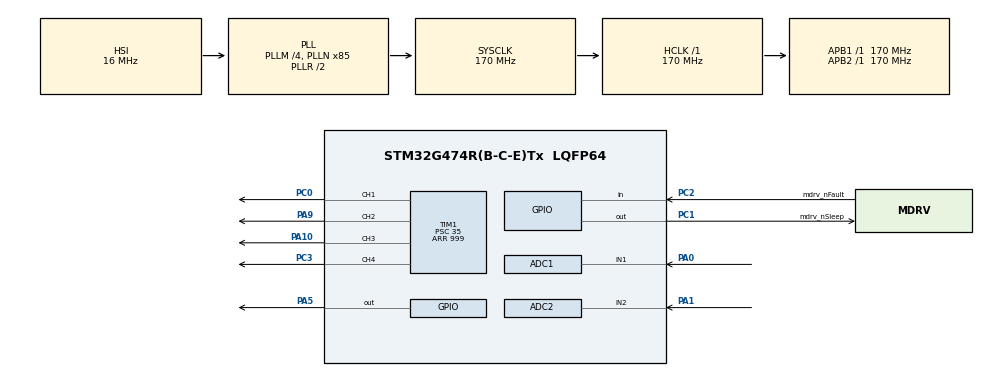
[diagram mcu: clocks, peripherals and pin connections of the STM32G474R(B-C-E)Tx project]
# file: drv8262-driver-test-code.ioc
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ADC1.Channel-1\#ChannelRegularConversion=ADC_CHANNEL_1
ADC1.NbrOfConversionFlag=1
ADC1.OffsetNumber-1\#ChannelRegularConversion=ADC_OFFSET_NONE
ADC1.Rank-1\#ChannelRegularConversion=1
ADC1.SamplingTime-1\#ChannelRegularConversion=ADC_SAMPLETIME_2CYCLES_5
ADC1.master=1
ADC2.Channel-0\#ChannelRegularConversion=ADC_CHANNEL_2
ADC2.NbrOfConversionFlag=1
ADC2.OffsetNumber-0\#ChannelRegularConversion=ADC_OFFSET_NONE
ADC2.Rank-0\#ChannelRegularConversion=1
ADC2.SamplingTime-0\#ChannelRegularConversion=ADC_SAMPLETIME_2CYCLES_5
Mcu.Family=STM32G4
Mcu.Name=STM32G474R(B-C-E)Tx
Mcu.Package=LQFP64
NUCLEO-G474RE.BUTTON=1
NUCLEO-G474RE.LD2=true
NUCLEO-G474RE.VCP=true
NVIC.EXTI15_10_IRQn=true\:0\:0\:false\:false\:true\:false\:true\:true
NVIC.PriorityGroup=NVIC_PRIORITYGROUP_4
PA0.Mode=IN1-Single-Ended
PA0.Signal=ADC1_IN1
PA1.Mode=IN2-Single-Ended
PA1.Signal=ADC2_IN2
PA10.Signal=S_TIM1_CH3
PA13.GPIO_Label=T_SWDIO
PA13.Signal=SYS_JTMS-SWDIO
PA14.GPIO_Label=T_SWCLK
PA14.Signal=SYS_JTCK-SWCLK
PA2.Signal=LPUART1_TX
PA3.Signal=LPUART1_RX
PA5.Signal=GPIO_Output
PA9.Signal=S_TIM1_CH2
PB3.GPIO_Label=T_SWO
PB3.Signal=SYS_JTDO-SWO
PC0.Signal=S_TIM1_CH1
PC1.GPIO_Label=mdrv_nSleep
PC1.Signal=GPIO_Output
PC14-OSC32_IN.GPIO_Label=RCC_OSC32_IN
PC14-OSC32_IN.Signal=RCC_OSC32_IN
PC15-OSC32_OUT.GPIO_Label=RCC_OSC32_OUT
PC15-OSC32_OUT.Signal=RCC_OSC32_OUT
PC2.GPIO_Label=mdrv_nFault
PC2.Signal=GPIO_Input
PC3.Signal=S_TIM1_CH4
PF0-OSC_IN.GPIO_Label=RCC_OSC_IN
PF0-OSC_IN.Signal=RCC_OSC_IN
PF1-OSC_OUT.GPIO_Label=RCC_OSC_OUT
PF1-OSC_OUT.Signal=RCC_OSC_OUT
ProjectManager.HeapSize=0x200
ProjectManager.StackSize=0x400
ProjectManager.TargetToolchain=STM32CubeIDE
RCC.ADC12Freq_Value=170000000
RCC.ADC345Freq_Value=170000000
RCC.AHBFreq_Value=170000000
RCC.APB1Freq_Value=170000000
RCC.APB1TimFreq_Value=170000000
RCC.APB2Freq_Value=170000000
RCC.APB2TimFreq_Value=170000000
RCC.CortexFreq_Value=170000000
RCC.EXTERNAL_CLOCK_VALUE=12288000
RCC.HCLKFreq_Value=170000000
RCC.HSE_VALUE=24000000
RCC.HSI48_VALUE=48000000
RCC.HSI_VALUE=16000000
RCC.LSE_VALUE=32768
RCC.PLLM=RCC_PLLM_DIV4
RCC.PLLN=85
RCC.RTCClockSelection=RCC_RTCCLKSOURCE_LSE
RCC.SYSCLKFreq_VALUE=170000000
RCC.SYSCLKSource=RCC_SYSCLKSOURCE_PLLCLK
RCC.USBFreq_Value=170000000
RCC.VCOOutputFreq_Value=340000000
SH.S_TIM1_CH1.0=TIM1_CH1,PWM Generation1 CH1
SH.S_TIM1_CH2.0=TIM1_CH2,PWM Generation2 CH2
SH.S_TIM1_CH3.0=TIM1_CH3,PWM Generation3 CH3
SH.S_TIM1_CH4.0=TIM1_CH4,PWM Generation4 CH4
TIM1.AutoReloadPreload=TIM_AUTORELOAD_PRELOAD_ENABLE
TIM1.Channel-PWM\ Generation1\ CH1=TIM_CHANNEL_1
TIM1.Channel-PWM\ Generation2\ CH2=TIM_CHANNEL_2
TIM1.Channel-PWM\ Generation3\ CH3=TIM_CHANNEL_3
TIM1.Channel-PWM\ Generation4\ CH4=TIM_CHANNEL_4
TIM1.PeriodNoDither=999
TIM1.Prescaler=35
VP_NUCLEO-G474RE_VS_BSP_COMMON.Mode=COMMON
VP_SYS_VS_DBSignals.Mode=DisableDeadBatterySignals
VP_TIM1_VS_ClockSourceINT.Mode=Internal
board=NUCLEO-G474RE

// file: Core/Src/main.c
/* USER CODE BEGIN Header */
/**
  ******************************************************************************
  * @file           : main.c
  * @brief          : Main program body
  ******************************************************************************
  * @attention
  *
  * Copyright (c) 2026 STMicroelectronics.
  * All rights reserved.
  *
  * This software is licensed under terms that can be found in the LICENSE file
  * in the root directory of this software component.
  * If no LICENSE file comes with this software, it is provided AS-IS.
  *
  ******************************************************************************
  */
/* USER CODE END Header */
#include "main.h"

COM_InitTypeDef BspCOMInit;
ADC_HandleTypeDef hadc1;
ADC_HandleTypeDef hadc2;

TIM_HandleTypeDef htim1;

void SystemClock_Config(void);
static void MX_GPIO_Init(void);
static void MX_ADC1_Init(void);
static void MX_ADC2_Init(void);
static void MX_TIM1_Init(void);

int main(void)
{

  /* MCU Configuration--------------------------------------------------------*/

  /* Reset of all peripherals, Initializes the Flash interface and the Systick. */
  HAL_Init();

  /* Configure the system clock */
  SystemClock_Config();

  /* Initialize all configured peripherals */
  MX_GPIO_Init();
  MX_ADC1_Init();
  MX_ADC2_Init();
  MX_TIM1_Init();
  /* USER CODE BEGIN 2 */
  HAL_TIM_PWM_Start(&htim1, TIM_CHANNEL_1);
  HAL_TIM_PWM_Start(&htim1, TIM_CHANNEL_2);
  HAL_TIM_PWM_Start(&htim1, TIM_CHANNEL_3);
  HAL_TIM_PWM_Start(&htim1, TIM_CHANNEL_4);

  /* USER CODE END 2 */

  /* Initialize led */
  BSP_LED_Init(LED_GREEN);

  /* Initialize USER push-button, will be used to trigger an interrupt each time it's pressed.*/
  BSP_PB_Init(BUTTON_USER, BUTTON_MODE_EXTI);

  /* Initialize COM1 port (115200, 8 bits (7-bit data + 1 stop bit), no parity */
  BspCOMInit.BaudRate   = 115200;
  BspCOMInit.WordLength = COM_WORDLENGTH_8B;
  BspCOMInit.StopBits   = COM_STOPBITS_1;
  BspCOMInit.Parity     = COM_PARITY_NONE;
  BspCOMInit.HwFlowCtl  = COM_HWCONTROL_NONE;
  if (BSP_COM_Init(COM1, &BspCOMInit) != BSP_ERROR_NONE)
  {
    Error_Handler();
  }

  /* Infinite loop */
  while (1)
  {

    /* USER CODE BEGIN 3 */
//	  HAL_GPIO_TogglePin(GPIOA, GPIO_PIN_5);
//	  HAL_Delay(1000);
	  for (uint32_t duty = 0; duty <= 999; duty++) {
	        __HAL_TIM_SET_COMPARE(&htim1, TIM_CHANNEL_1, duty);
	        __HAL_TIM_SET_COMPARE(&htim1, TIM_CHANNEL_2, duty);
	        __HAL_TIM_SET_COMPARE(&htim1, TIM_CHANNEL_3, duty);
	        __HAL_TIM_SET_COMPARE(&htim1, TIM_CHANNEL_4, duty);

	        HAL_Delay(1);
	      }

	      for (int32_t duty = 999; duty >= 0; duty--) {
	        __HAL_TIM_SET_COMPARE(&htim1, TIM_CHANNEL_1, (uint32_t)duty);
	        __HAL_TIM_SET_COMPARE(&htim1, TIM_CHANNEL_2, (uint32_t)duty);
	        __HAL_TIM_SET_COMPARE(&htim1, TIM_CHANNEL_3, (uint32_t)duty);
	        __HAL_TIM_SET_COMPARE(&htim1, TIM_CHANNEL_4, (uint32_t)duty);
	        HAL_Delay(1);
	      }

  }
  /* USER CODE END 3 */
}

void SystemClock_Config(void)
{
  RCC_OscInitTypeDef RCC_OscInitStruct = {0};
  RCC_ClkInitTypeDef RCC_ClkInitStruct = {0};

  /** Configure the main internal regulator output voltage
  */
  HAL_PWREx_ControlVoltageScaling(PWR_REGULATOR_VOLTAGE_SCALE1_BOOST);

  /** Initializes the RCC Oscillators according to the specified parameters
  * in the RCC_OscInitTypeDef structure.
  */
  RCC_OscInitStruct.OscillatorType = RCC_OSCILLATORTYPE_HSI;
  RCC_OscInitStruct.HSIState = RCC_HSI_ON;
  RCC_OscInitStruct.HSICalibrationValue = RCC_HSICALIBRATION_DEFAULT;
  RCC_OscInitStruct.PLL.PLLState = RCC_PLL_ON;
  RCC_OscInitStruct.PLL.PLLSource = RCC_PLLSOURCE_HSI;
  RCC_OscInitStruct.PLL.PLLM = RCC_PLLM_DIV4;
  RCC_OscInitStruct.PLL.PLLN = 85;
  RCC_OscInitStruct.PLL.PLLP = RCC_PLLP_DIV2;
  RCC_OscInitStruct.PLL.PLLQ = RCC_PLLQ_DIV2;
  RCC_OscInitStruct.PLL.PLLR = RCC_PLLR_DIV2;
  if (HAL_RCC_OscConfig(&RCC_OscInitStruct) != HAL_OK)
  {
    Error_Handler();
  }

  /** Initializes the CPU, AHB and APB buses clocks
  */
  RCC_ClkInitStruct.ClockType = RCC_CLOCKTYPE_HCLK|RCC_CLOCKTYPE_SYSCLK
                              |RCC_CLOCKTYPE_PCLK1|RCC_CLOCKTYPE_PCLK2;
  RCC_ClkInitStruct.SYSCLKSource = RCC_SYSCLKSOURCE_PLLCLK;
  RCC_ClkInitStruct.AHBCLKDivider = RCC_SYSCLK_DIV1;
  RCC_ClkInitStruct.APB1CLKDivider = RCC_HCLK_DIV1;
  RCC_ClkInitStruct.APB2CLKDivider = RCC_HCLK_DIV1;

  if (HAL_RCC_ClockConfig(&RCC_ClkInitStruct, FLASH_LATENCY_4) != HAL_OK)
  {
    Error_Handler();
  }
}

static void MX_ADC1_Init(void)
{

  ADC_MultiModeTypeDef multimode = {0};
  ADC_ChannelConfTypeDef sConfig = {0};

  /** Common config
  */
  hadc1.Instance = ADC1;
  hadc1.Init.ClockPrescaler = ADC_CLOCK_SYNC_PCLK_DIV4;
  hadc1.Init.Resolution = ADC_RESOLUTION_12B;
  hadc1.Init.DataAlign = ADC_DATAALIGN_RIGHT;
  hadc1.Init.GainCompensation = 0;
  hadc1.Init.ScanConvMode = ADC_SCAN_DISABLE;
  hadc1.Init.EOCSelection = ADC_EOC_SINGLE_CONV;
  hadc1.Init.LowPowerAutoWait = DISABLE;
  hadc1.Init.ContinuousConvMode = DISABLE;
  hadc1.Init.NbrOfConversion = 1;
  hadc1.Init.DiscontinuousConvMode = DISABLE;
  hadc1.Init.ExternalTrigConv = ADC_SOFTWARE_START;
  hadc1.Init.ExternalTrigConvEdge = ADC_EXTERNALTRIGCONVEDGE_NONE;
  hadc1.Init.DMAContinuousRequests = DISABLE;
  hadc1.Init.Overrun = ADC_OVR_DATA_PRESERVED;
  hadc1.Init.OversamplingMode = DISABLE;
  if (HAL_ADC_Init(&hadc1) != HAL_OK)
  {
    Error_Handler();
  }

  /** Configure the ADC multi-mode
  */
  multimode.Mode = ADC_MODE_INDEPENDENT;
  if (HAL_ADCEx_MultiModeConfigChannel(&hadc1, &multimode) != HAL_OK)
  {
    Error_Handler();
  }

  /** Configure Regular Channel
  */
  sConfig.Channel = ADC_CHANNEL_1;
  sConfig.Rank = ADC_REGULAR_RANK_1;
  sConfig.SamplingTime = ADC_SAMPLETIME_2CYCLES_5;
  sConfig.SingleDiff = ADC_SINGLE_ENDED;
  sConfig.OffsetNumber = ADC_OFFSET_NONE;
  sConfig.Offset = 0;
  if (HAL_ADC_ConfigChannel(&hadc1, &sConfig) != HAL_OK)
  {
    Error_Handler();
  }

}

static void MX_ADC2_Init(void)
{

  ADC_ChannelConfTypeDef sConfig = {0};

  /** Common config
  */
  hadc2.Instance = ADC2;
  hadc2.Init.ClockPrescaler = ADC_CLOCK_SYNC_PCLK_DIV4;
  hadc2.Init.Resolution = ADC_RESOLUTION_12B;
  hadc2.Init.DataAlign = ADC_DATAALIGN_RIGHT;
  hadc2.Init.GainCompensation = 0;
  hadc2.Init.ScanConvMode = ADC_SCAN_DISABLE;
  hadc2.Init.EOCSelection = ADC_EOC_SINGLE_CONV;
  hadc2.Init.LowPowerAutoWait = DISABLE;
  hadc2.Init.ContinuousConvMode = DISABLE;
  hadc2.Init.NbrOfConversion = 1;
  hadc2.Init.DiscontinuousConvMode = DISABLE;
  hadc2.Init.ExternalTrigConv = ADC_SOFTWARE_START;
  hadc2.Init.ExternalTrigConvEdge = ADC_EXTERNALTRIGCONVEDGE_NONE;
  hadc2.Init.DMAContinuousRequests = DISABLE;
  hadc2.Init.Overrun = ADC_OVR_DATA_PRESERVED;
  hadc2.Init.OversamplingMode = DISABLE;
  if (HAL_ADC_Init(&hadc2) != HAL_OK)
  {
    Error_Handler();
  }

  /** Configure Regular Channel
  */
  sConfig.Channel = ADC_CHANNEL_2;
  sConfig.Rank = ADC_REGULAR_RANK_1;
  sConfig.SamplingTime = ADC_SAMPLETIME_2CYCLES_5;
  sConfig.SingleDiff = ADC_SINGLE_ENDED;
  sConfig.OffsetNumber = ADC_OFFSET_NONE;
  sConfig.Offset = 0;
  if (HAL_ADC_ConfigChannel(&hadc2, &sConfig) != HAL_OK)
  {
    Error_Handler();
  }

}

static void MX_TIM1_Init(void)
{

  TIM_ClockConfigTypeDef sClockSourceConfig = {0};
  TIM_MasterConfigTypeDef sMasterConfig = {0};
  TIM_OC_InitTypeDef sConfigOC = {0};
  TIM_BreakDeadTimeConfigTypeDef sBreakDeadTimeConfig = {0};

  htim1.Instance = TIM1;
  htim1.Init.Prescaler = 35;
  htim1.Init.CounterMode = TIM_COUNTERMODE_UP;
  htim1.Init.Period = 999;
  htim1.Init.ClockDivision = TIM_CLOCKDIVISION_DIV1;
  htim1.Init.RepetitionCounter = 0;
  htim1.Init.AutoReloadPreload = TIM_AUTORELOAD_PRELOAD_ENABLE;
  if (HAL_TIM_Base_Init(&htim1) != HAL_OK)
  {
    Error_Handler();
  }
  sClockSourceConfig.ClockSource = TIM_CLOCKSOURCE_INTERNAL;
  if (HAL_TIM_ConfigClockSource(&htim1, &sClockSourceConfig) != HAL_OK)
  {
    Error_Handler();
  }
  if (HAL_TIM_PWM_Init(&htim1) != HAL_OK)
  {
    Error_Handler();
  }
  sMasterConfig.MasterOutputTrigger = TIM_TRGO_RESET;
  sMasterConfig.MasterOutputTrigger2 = TIM_TRGO2_RESET;
  sMasterConfig.MasterSlaveMode = TIM_MASTERSLAVEMODE_DISABLE;
  if (HAL_TIMEx_MasterConfigSynchronization(&htim1, &sMasterConfig) != HAL_OK)
  {
    Error_Handler();
  }
  sConfigOC.OCMode = TIM_OCMODE_PWM1;
  sConfigOC.Pulse = 0;
  sConfigOC.OCPolarity = TIM_OCPOLARITY_HIGH;
  sConfigOC.OCNPolarity = TIM_OCNPOLARITY_HIGH;
  sConfigOC.OCFastMode = TIM_OCFAST_DISABLE;
  sConfigOC.OCIdleState = TIM_OCIDLESTATE_RESET;
  sConfigOC.OCNIdleState = TIM_OCNIDLESTATE_RESET;
  if (HAL_TIM_PWM_ConfigChannel(&htim1, &sConfigOC, TIM_CHANNEL_1) != HAL_OK)
  {
    Error_Handler();
  }
  if (HAL_TIM_PWM_ConfigChannel(&htim1, &sConfigOC, TIM_CHANNEL_2) != HAL_OK)
  {
    Error_Handler();
  }
  if (HAL_TIM_PWM_ConfigChannel(&htim1, &sConfigOC, TIM_CHANNEL_3) != HAL_OK)
  {
    Error_Handler();
  }
  if (HAL_TIM_PWM_ConfigChannel(&htim1, &sConfigOC, TIM_CHANNEL_4) != HAL_OK)
  {
    Error_Handler();
  }
  sBreakDeadTimeConfig.OffStateRunMode = TIM_OSSR_DISABLE;
  sBreakDeadTimeConfig.OffStateIDLEMode = TIM_OSSI_DISABLE;
  sBreakDeadTimeConfig.LockLevel = TIM_LOCKLEVEL_OFF;
  sBreakDeadTimeConfig.DeadTime = 0;
  sBreakDeadTimeConfig.BreakState = TIM_BREAK_DISABLE;
  sBreakDeadTimeConfig.BreakPolarity = TIM_BREAKPOLARITY_HIGH;
  sBreakDeadTimeConfig.BreakFilter = 0;
  sBreakDeadTimeConfig.BreakAFMode = TIM_BREAK_AFMODE_INPUT;
  sBreakDeadTimeConfig.Break2State = TIM_BREAK2_DISABLE;
  sBreakDeadTimeConfig.Break2Polarity = TIM_BREAK2POLARITY_HIGH;
  sBreakDeadTimeConfig.Break2Filter = 0;
  sBreakDeadTimeConfig.Break2AFMode = TIM_BREAK_AFMODE_INPUT;
  sBreakDeadTimeConfig.AutomaticOutput = TIM_AUTOMATICOUTPUT_DISABLE;
  if (HAL_TIMEx_ConfigBreakDeadTime(&htim1, &sBreakDeadTimeConfig) != HAL_OK)
  {
    Error_Handler();
  }
  HAL_TIM_MspPostInit(&htim1);

}

static void MX_GPIO_Init(void)
{
  GPIO_InitTypeDef GPIO_InitStruct = {0};

  /* GPIO Ports Clock Enable */
  __HAL_RCC_GPIOC_CLK_ENABLE();
  __HAL_RCC_GPIOF_CLK_ENABLE();
  __HAL_RCC_GPIOA_CLK_ENABLE();
  __HAL_RCC_GPIOB_CLK_ENABLE();

  /*Configure GPIO pin Output Level */
  HAL_GPIO_WritePin(mdrv_nSleep_GPIO_Port, mdrv_nSleep_Pin, GPIO_PIN_RESET);

  /*Configure GPIO pin : mdrv_nSleep_Pin */
  GPIO_InitStruct.Pin = mdrv_nSleep_Pin;
  GPIO_InitStruct.Mode = GPIO_MODE_OUTPUT_PP;
  GPIO_InitStruct.Pull = GPIO_NOPULL;
  GPIO_InitStruct.Speed = GPIO_SPEED_FREQ_LOW;
  HAL_GPIO_Init(mdrv_nSleep_GPIO_Port, &GPIO_InitStruct);

  /*Configure GPIO pin : mdrv_nFault_Pin */
  GPIO_InitStruct.Pin = mdrv_nFault_Pin;
  GPIO_InitStruct.Mode = GPIO_MODE_INPUT;
  GPIO_InitStruct.Pull = GPIO_NOPULL;
  HAL_GPIO_Init(mdrv_nFault_GPIO_Port, &GPIO_InitStruct);

}

/* USER CODE BEGIN 4 */
void M_init(TIM_HandleTypeDef *htim) {
	if (htim-> Instance == htim1) {

		HAL_GPIO_WritePin(mdrv_nSleep_GPIO_Port, mdrv_nSleep_Pin, GPIO_PIN_SET); // nsleep pin set to 1

		// In break mode
		// IN2/IN4 = 1 and IN1/IN3 = 1 with 100% duty cycle
		TIM1->CCR1 = TIM1->ARR * 100;
		TIM1->CCR2 = TIM1->ARR * 100;

		TIM1->CCR3 = TIM1->ARR * 100;
		TIM1->CCR4 = TIM1->ARR * 100;
	}

}
void M_forward(uint8_t speed) {

	double ccr =  TIM1->ARR * speed;

	//  IN1/IN3 = 1 and IN2/IN4 =0  with speed% duty cycle
	 TIM1->CCR1 = ccr;
	 TIM1->CCR3 = ccr;

	 TIM1->CCR2 = 0;
	 TIM1->CCR4 = 0;

}

void M_reverse() {

	double ccr =  TIM1->ARR * speed;

	// IN2/IN4 = 1 and IN1/IN3 = 0  with speed% duty cycle

		 TIM1->CCR2 = ccr;
		 TIM1->CCR4 = ccr;

		 TIM1->CCR1 = 0;
		 TIM1->CCR3 = 0;
}

void M_break() {

	// IN2/IN4 = 1 and IN1/IN3 = 1 with 50% duty cycle

	TIM1->CCR1 = TIM1->ARR * 50;
	TIM1->CCR2 = TIM1->ARR * 50;

	TIM1->CCR3 = TIM1->ARR * 50;
	TIM1->CCR4 = TIM1->ARR * 50;

}

void M_coast() {

	// IN2/IN4 = 0 and IN1/IN3 = 0 with 0% duty cycle

	TIM1->CCR1 = 0;
	TIM1->CCR2 = 0;

	TIM1->CCR3 = 0;
	TIM1->CCR4 = 0;

}

void M_sleep() {
	HAL_GPIO_WritePin(mdrv_nSleep_GPIO_Port, mdrv_nSleep_Pin, GPIO_PIN_RESET); // nsleep pin set to 0
}

/* USER CODE END 4 */

void Error_Handler(void)
{
  __disable_irq();
  while (1)
  {
  }
}
